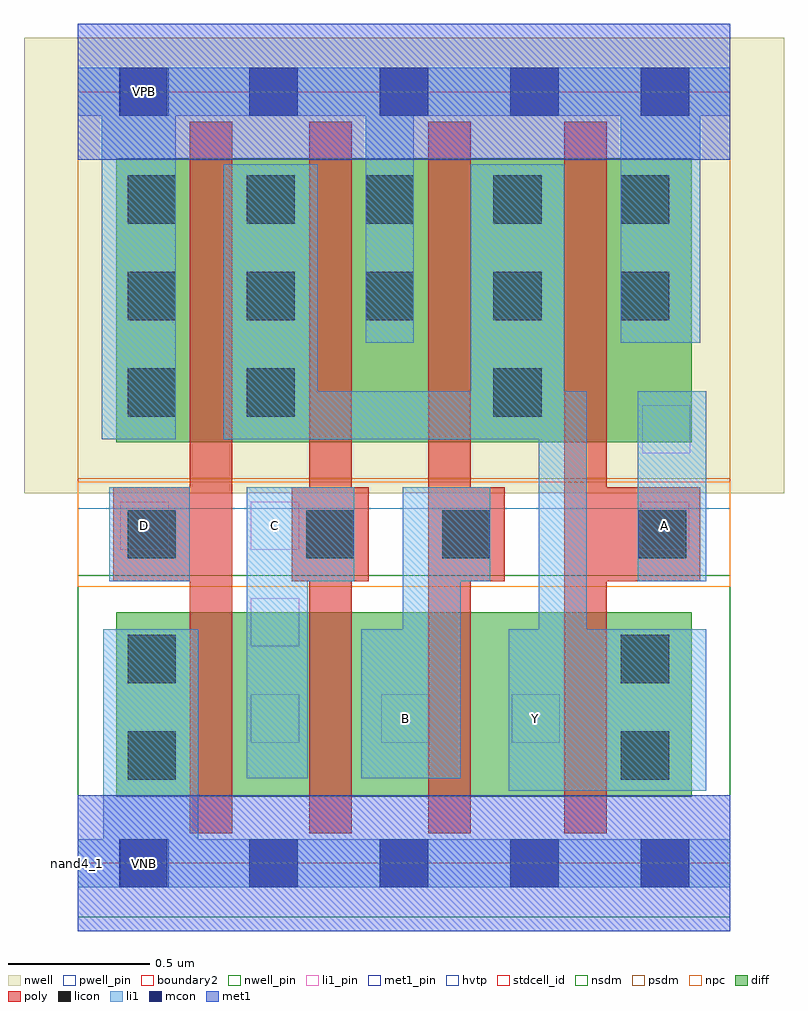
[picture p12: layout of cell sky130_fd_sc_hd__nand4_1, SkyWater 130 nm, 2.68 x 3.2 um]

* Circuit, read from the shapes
.subckt sky130_fd_sc_hd__nand4_1 A B C D VGND VNB VPB VPWR Y
XM1 n1 D VGND VNB sky130_fd_pr__nfet_01v8 w=0.65 l=0.15
XM2 n2 C n1 VNB sky130_fd_pr__nfet_01v8 w=0.65 l=0.15
XM3 n3 B n2 VNB sky130_fd_pr__nfet_01v8 w=0.65 l=0.15
XM4 Y A n3 VNB sky130_fd_pr__nfet_01v8 w=0.65 l=0.15
XM5 Y D VPWR VPB sky130_fd_pr__pfet_01v8_hvt w=1 l=0.15
XM6 VPWR C Y VPB sky130_fd_pr__pfet_01v8_hvt w=1 l=0.15
XM7 Y B VPWR VPB sky130_fd_pr__pfet_01v8_hvt w=1 l=0.15
XM8 VPWR A Y VPB sky130_fd_pr__pfet_01v8_hvt w=1 l=0.15
.ends

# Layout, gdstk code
import gdstk
lib = gdstk.Library(unit=1e-6, precision=1e-09)
def R(c, l, rs):  # rectangles x0, y0, x1, y1
    for r in rs: c.add(gdstk.rectangle(r[:2], r[2:], *l))
def A(c, l, x, y, w, h, nx, ny, dx, dy):  # array of equal rectangles
    R(c, l, [(x+i*dx, y+j*dy, x+i*dx+w, y+j*dy+h) for i in range(nx) for j in range(ny)])
def P(c, l, *ps):  # polygons
    for p in ps: c.add(gdstk.Polygon(p, *l))
nwell_pin = (64, 16)
nwell = (64, 20)
diff = (65, 20)
poly = (66, 20)
licon = (66, 44)
li1_pin = (67, 16)
li1 = (67, 20)
mcon = (67, 44)
met1_pin = (68, 16)
met1 = (68, 20)
hvtp = (78, 44)
stdcell_id = (81, 4)
nsdm = (93, 44)
psdm = (94, 20)
npc = (95, 20)
pwell_pin = (122, 16)
boundary2 = (236, 0)

sky130_fd_sc_hd__nand4_1 = lib.new_cell('sky130_fd_sc_hd__nand4_1')
R(sky130_fd_sc_hd__nand4_1, nwell_pin, [(0.15,2.635,0.32,2.805)])
R(sky130_fd_sc_hd__nand4_1, nwell, [(-0.19,1.305,2.49,2.91)])
R(sky130_fd_sc_hd__nand4_1, diff, [(0.135,0.235,2.165,0.885), (0.135,1.485,2.165,2.485)])
P(sky130_fd_sc_hd__nand4_1, poly, [(1.025,1.325),(0.965,1.325),(0.965,2.615),(0.815,2.615),(0.815,1.325),(0.755,1.325),(0.755,0.995),(0.815,0.995),(0.815,0.105),(0.965,0.105),(0.965,0.995),(1.025,0.995)],
  [(2.195,1.325),(1.865,1.325),(1.865,2.615),(1.715,2.615),(1.715,0.105),(1.865,0.105),(1.865,0.995),(2.195,0.995)],
  [(1.505,1.325),(1.385,1.325),(1.385,2.615),(1.235,2.615),(1.235,0.105),(1.385,0.105),(1.385,0.995),(1.505,0.995)],
  [(0.545,2.615),(0.395,2.615),(0.395,1.325),(0.125,1.325),(0.125,0.995),(0.395,0.995),(0.395,0.105),(0.545,0.105)])
A(sky130_fd_sc_hd__nand4_1, licon, 1.465, 1.575, 0.17, 0.17, 1, 3, 0, 0.34)
A(sky130_fd_sc_hd__nand4_1, licon, 0.175, 1.915, 0.17, 0.17, 3, 2, 0.42, 0.34)
R(sky130_fd_sc_hd__nand4_1, licon, [(0.175,0.295,0.345,0.465), (1.915,0.295,2.085,0.465), (0.175,0.635,0.345,0.805), (1.915,0.635,2.085,0.805), (0.175,1.075,0.345,1.245), (0.805,1.075,0.975,1.245), (1.285,1.075,1.455,1.245), (1.975,1.075,2.145,1.245), (0.175,1.575,0.345,1.745), (0.595,1.575,0.765,1.745), (1.915,1.915,2.085,2.085), (1.915,2.255,2.085,2.425)])
A(sky130_fd_sc_hd__nand4_1, li1_pin, 0.61, 0.425, 0.17, 0.17, 3, 1, 0.46, 0)
R(sky130_fd_sc_hd__nand4_1, li1_pin, [(0.61,0.765,0.78,0.935), (0.15,1.105,0.32,1.275), (0.61,1.105,0.78,1.275), (1.985,1.105,2.155,1.275), (1.99,1.445,2.16,1.615)])
R(sky130_fd_sc_hd__nand4_1, li1, [(0.11,0.995,0.395,1.325), (1.975,0.995,2.215,1.665)])
P(sky130_fd_sc_hd__nand4_1, li1, [(2.215,0.825),(1.795,0.825),(1.795,1.665),(1.715,1.665),(1.715,2.465),(1.385,2.465),(1.385,1.665),(0.845,1.665),(0.845,2.465),(0.515,2.465),(0.515,1.495),(1.625,1.495),(1.625,0.825),(1.52,0.825),(1.52,0.255),(2.215,0.255)],
  [(2.3,0.085),(0.425,0.085),(0.425,0.825),(0.09,0.825),(0.09,0.085),(0,0.085),(0,-0.085),(2.3,-0.085)],
  [(1.455,1.325),(1.145,1.325),(1.145,0.825),(1,0.825),(1,0.3),(1.35,0.3),(1.35,0.995),(1.455,0.995)],
  [(2.3,2.805),(0,2.805),(0,2.635),(0.085,2.635),(0.085,1.495),(0.345,1.495),(0.345,2.635),(1.015,2.635),(1.015,1.835),(1.185,1.835),(1.185,2.635),(1.915,2.635),(1.915,1.835),(2.195,1.835),(2.195,2.635),(2.3,2.635)],
  [(0.975,1.325),(0.595,1.325),(0.595,0.3),(0.81,0.3),(0.81,0.995),(0.975,0.995)])
A(sky130_fd_sc_hd__nand4_1, mcon, 0.145, -0.085, 0.17, 0.17, 5, 2, 0.46, 2.72)
R(sky130_fd_sc_hd__nand4_1, met1_pin, [(0.15,-0.085,0.32,0.085), (0.15,2.635,0.32,2.805)])
R(sky130_fd_sc_hd__nand4_1, hvtp, [(0,1.25,2.3,2.72)])
R(sky130_fd_sc_hd__nand4_1, stdcell_id, [(0,0,2.3,2.72)])
R(sky130_fd_sc_hd__nand4_1, nsdm, [(0,-0.19,2.3,1.015)])
R(sky130_fd_sc_hd__nand4_1, psdm, [(0,1.355,2.3,2.91)])
R(sky130_fd_sc_hd__nand4_1, npc, [(0,0.975,2.3,1.345)])
R(sky130_fd_sc_hd__nand4_1, pwell_pin, [(0.15,-0.085,0.32,0.085)])
R(sky130_fd_sc_hd__nand4_1, boundary2, [(0,0,2.3,2.72)])
sky130_fd_sc_hd__nand4_1.add(gdstk.FlexPath([(0,2.72),(2.3,2.72)], 0.48, ends="flush", simple_path=True, layer=68, datatype=20))  # met1
sky130_fd_sc_hd__nand4_1.add(gdstk.FlexPath([(0,0),(2.3,0)], 0.48, ends="flush", simple_path=True, layer=68, datatype=20))  # met1
sky130_fd_sc_hd__nand4_1.add(gdstk.Label('C', (0.695,1.19), layer=67, texttype=5))
sky130_fd_sc_hd__nand4_1.add(gdstk.Label('B', (1.155,0.51), layer=67, texttype=5))
sky130_fd_sc_hd__nand4_1.add(gdstk.Label('Y', (1.615,0.51), layer=67, texttype=5))
sky130_fd_sc_hd__nand4_1.add(gdstk.Label('D', (0.235,1.19), layer=67, texttype=5))
sky130_fd_sc_hd__nand4_1.add(gdstk.Label('A', (2.07,1.19), layer=67, texttype=5))
sky130_fd_sc_hd__nand4_1.add(gdstk.Label('VPB', (0.235,2.72), layer=64, texttype=5))
sky130_fd_sc_hd__nand4_1.add(gdstk.Label('VNB', (0.235,0), layer=64, texttype=59))
sky130_fd_sc_hd__nand4_1.add(gdstk.Label('VPWR', (0.235,2.72), layer=68, texttype=5))
sky130_fd_sc_hd__nand4_1.add(gdstk.Label('VGND', (0.235,0), layer=68, texttype=5))
sky130_fd_sc_hd__nand4_1.add(gdstk.Label('nand4_1', (0,0), layer=83, texttype=44))

lib.write_gds('sky130_fd_sc_hd__nand4_1.gds')
